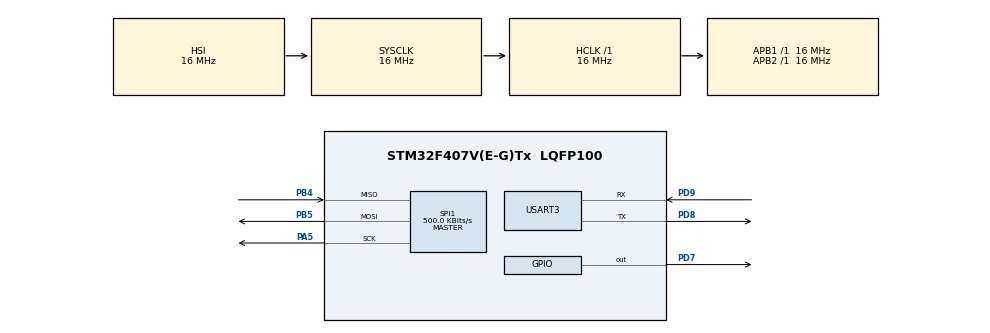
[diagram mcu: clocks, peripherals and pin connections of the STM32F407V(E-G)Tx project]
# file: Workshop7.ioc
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Mcu.Family=STM32F4
Mcu.Name=STM32F407V(E-G)Tx
Mcu.Package=LQFP100
NVIC.PriorityGroup=NVIC_PRIORITYGROUP_4
PA5.Mode=Full_Duplex_Master
PA5.Signal=SPI1_SCK
PB4.Mode=Full_Duplex_Master
PB4.Signal=SPI1_MISO
PB5.Mode=Full_Duplex_Master
PB5.Signal=SPI1_MOSI
PD7.Signal=GPIO_Output
PD8.Mode=Asynchronous
PD8.Signal=USART3_TX
PD9.Mode=Asynchronous
PD9.Signal=USART3_RX
ProjectManager.HeapSize=0x200
ProjectManager.StackSize=0x400
ProjectManager.TargetToolchain=STM32CubeIDE
RCC.AHBFreq_Value=16000000
RCC.APB1Freq_Value=16000000
RCC.APB2Freq_Value=16000000
RCC.CortexFreq_Value=16000000
RCC.HSE_VALUE=25000000
RCC.HSI_VALUE=16000000
RCC.LSE_VALUE=32768
RCC.SYSCLKFreq_VALUE=16000000
RCC.VCOOutputFreq_Value=192000000
SPI1.BaudRatePrescaler=SPI_BAUDRATEPRESCALER_32
SPI1.CLKPolarity=SPI_POLARITY_LOW
SPI1.CalculateBaudRate=500.0 KBits/s
SPI1.Direction=SPI_DIRECTION_2LINES
SPI1.Mode=SPI_MODE_MASTER
SPI1.VirtualType=VM_MASTER
USART3.VirtualMode=VM_ASYNC
board=custom

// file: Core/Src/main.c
/* USER CODE BEGIN Header */
/**
  ******************************************************************************
  * @file           : main.c
  * @brief          : Main program body
  ******************************************************************************
  * @attention
  *
  * <h2><center>&copy; Copyright (c) 2021 STMicroelectronics.
  * All rights reserved.</center></h2>
  *
  * This software component is licensed by ST under BSD 3-Clause license,
  * the "License"; You may not use this file except in compliance with the
  * License. You may obtain a copy of the License at:
  *                        opensource.org/licenses/BSD-3-Clause
  *
  ******************************************************************************
  */
/* USER CODE END Header */
#include "main.h"

/* USER CODE BEGIN Includes */

#include <stdbool.h>
#include <string.h>
#define maxLines 20
#define lineMaxSize 100
#define waitTime 100

/* USER CODE END Includes */

SPI_HandleTypeDef hspi1;

UART_HandleTypeDef huart3;

void SystemClock_Config(void);
static void MX_GPIO_Init(void);
static void MX_SPI1_Init(void);
static void MX_USART3_UART_Init(void);

/* USER CODE BEGIN 0 */

const uint8_t readMemoryCode = 0x03;
const uint8_t getIdCode = 0x90;
const uint8_t writeEnableCode = 0x06;
const uint8_t writeDisableCode = 0x04;
const uint8_t eraseAllCode = 0x60;
const uint8_t enableWriteStatusCode = 0x50;
const uint8_t writeStatusCode = 0x01;
const uint8_t enableSOCode = 0x70;
const uint8_t disableSOCode = 0x80;
const uint8_t autoAddressIncrementCode = 0xAD;

const uint16_t chipEnablePin = GPIO_PIN_7;

void setTransaction(bool state)
{
	if (state == true)
	{
		if (HAL_GPIO_ReadPin(GPIOD, chipEnablePin) == GPIO_PIN_SET)
			HAL_GPIO_WritePin(GPIOD, chipEnablePin, GPIO_PIN_RESET);
	}
	else
	{
		if (HAL_GPIO_ReadPin(GPIOD, chipEnablePin) == GPIO_PIN_RESET)
			HAL_GPIO_WritePin(GPIOD, chipEnablePin, GPIO_PIN_SET);
	}
}

void setWriteMode(bool state)
{
	setTransaction(true);
	HAL_SPI_Transmit(&hspi1, state == true ? (uint8_t *)&writeEnableCode : (uint8_t *)&writeDisableCode, 1, waitTime);
	setTransaction(false);
}

void eraseAll()
{
	setTransaction(true);
	HAL_SPI_Transmit(&hspi1, (uint8_t *)&eraseAllCode, 1, waitTime);
	setTransaction(false);
}

void setWriteStatus()
{
	uint8_t status[] = {writeStatusCode, 0};

	setTransaction(true);
	HAL_SPI_Transmit(&hspi1, (uint8_t *)&enableWriteStatusCode, 1, waitTime);
	setTransaction(false);
	setTransaction(true);
	HAL_SPI_Transmit(&hspi1, status, 2, waitTime);
	setTransaction(false);
}

void setHEOW(bool state)
{
	setTransaction(true);
	HAL_SPI_Transmit(&hspi1, state == true ? (uint8_t *)&enableSOCode : (uint8_t *)&disableSOCode, 1, waitTime);
	setTransaction(false);
}

void waitForEndOfWriting()
{
	setTransaction(true);

	while (HAL_GPIO_ReadPin(GPIOB, GPIO_PIN_4) == GPIO_PIN_RESET);

	setTransaction(false);
}

void readLineSPI(uint32_t memory, uint8_t *save)
{
	uint8_t transmit[] = {readMemoryCode, memory >> 16, memory >> 8, memory};

	setTransaction(true);
	HAL_SPI_Transmit(&hspi1, transmit, sizeof(transmit), waitTime);
	HAL_SPI_Receive(&hspi1, save, lineMaxSize, waitTime);
	setTransaction(false);
}

void writeLineSPI(uint32_t memory, uint8_t *line, uint8_t lineLength)
{
	setWriteStatus();
	setWriteMode(true);
	setHEOW(true);

	uint8_t startWritingPoint[] = {autoAddressIncrementCode, memory >> 16, memory >> 8, memory, line[0], line[1]};
	setTransaction(true);
	HAL_SPI_Transmit(&hspi1, startWritingPoint, sizeof(startWritingPoint), waitTime);
	setTransaction(false);
	waitForEndOfWriting();

	uint8_t twoBytesToPass[] = {autoAddressIncrementCode, line[0], line[1]};
	for (int i = 2; i < lineLength; i += 2)
	{
		twoBytesToPass[1] = line[i];
		if (i + 1 < lineLength)
			twoBytesToPass[2] = line[i + 1];
		else
			twoBytesToPass[2] = 255;
		setTransaction(true);
		HAL_SPI_Transmit(&hspi1, twoBytesToPass, sizeof(twoBytesToPass), waitTime);
		setTransaction(false);

		waitForEndOfWriting();
	}

	setWriteMode(false);
	setHEOW(false);
}
/* USER CODE END 0 */

int main(void)
{

  /* MCU Configuration--------------------------------------------------------*/

  /* Reset of all peripherals, Initializes the Flash interface and the Systick. */
  HAL_Init();

  /* Configure the system clock */
  SystemClock_Config();

  /* Initialize all configured peripherals */
  MX_GPIO_Init();
  MX_SPI1_Init();
  MX_USART3_UART_Init();

  /* Infinite loop */
  /* USER CODE BEGIN WHILE */

  HAL_UART_Transmit(&huart3, (uint8_t *)"\r\n\n\n\nRESTART\r\n\n\n\n\n", 18, waitTime);

  setTransaction(false);

  // make first transmit to set clock to low, couldn't find better solution
  setWriteMode(false);
  HAL_Delay(100);

  uint32_t memory = 0;

  // read time capsule
  HAL_UART_Transmit(&huart3, (uint8_t *)"TIME CAPSULE:\r\n\n", 16, waitTime);

  char tmpLine[lineMaxSize] = { };
  for (int i = 0; i < maxLines; i++)
  {
	  readLineSPI(memory, (uint8_t *)tmpLine);

	  for (int j = 0; ;j++)
	  {
		  if (tmpLine[j] == 255)
		  {
			  tmpLine[j] = '\0';
			  break;
		  }
	  }

	  HAL_UART_Transmit(&huart3, (uint8_t *)&tmpLine, strlen(tmpLine), waitTime);

	  memory += 4096; // new 4KB block
  }

  HAL_Delay(1000);

  // erase time capsule
  HAL_UART_Transmit(&huart3, (uint8_t *)"\r\n\nERASING...\r\n\n\n", 17, waitTime);

  setWriteMode(true);
  eraseAll();
  setWriteMode(false);

  HAL_Delay(1000);

  // write time capsule
  HAL_UART_Transmit(&huart3, (uint8_t *)"NEW CAPSULE:\r\n\n", 15, waitTime);

  char timeCapsule[maxLines][lineMaxSize] = { };

  strcat(timeCapsule[0], "From: Yaroslav Fur, yarosav.fur.w3@gmail.com\r\n");
  strcat(timeCapsule[1], "Mentor: Vitalii Kostiuk, vitalii.kostiuk@globallogic.com\r\n");
  strcat(timeCapsule[2], "Date: 25.11.2021\r\n");
  strcat(timeCapsule[3], "TIME CAPSULE\r\n");
  strcat(timeCapsule[4], "The following SCP object is a Beta-Gimmel-White level memetic hazard\r\n");
  strcat(timeCapsule[5], "that cannot be countered by current Foundation technology. Unauthorized\r\n");
  strcat(timeCapsule[6], "personnel viewing this file will be terminated. Authorized personnel\r\n");
  strcat(timeCapsule[7], "who do not wish to view this file should shut down their systems at this\r\n");
  strcat(timeCapsule[8], "time and submit to a superior for amnestic administration\r\n");
  strcat(timeCapsule[9], "LEVEL 5 AUTHORIZATION REQUIRED\r\n");
  strcat(timeCapsule[10], "REQUEST DENIED\r\n\n");
  strcat(timeCapsule[11], "Secure, Contain, Protect\r\n");

  memory = 0;
  for (int i = 0; i < maxLines; i++)
  {
	  writeLineSPI(memory, (uint8_t *)timeCapsule[i], strlen(timeCapsule[i]));
	  HAL_UART_Transmit(&huart3, (uint8_t *)&timeCapsule[i],
			  strlen(timeCapsule[i]), waitTime);
	  memory += 4096;
  }

  // here's new time capsule:
  // show time capsule by uart

  while (1)
  {
    /* USER CODE END WHILE */

  }
}

void SystemClock_Config(void)
{
  RCC_OscInitTypeDef RCC_OscInitStruct = {0};
  RCC_ClkInitTypeDef RCC_ClkInitStruct = {0};

  /** Configure the main internal regulator output voltage
  */
  __HAL_RCC_PWR_CLK_ENABLE();
  __HAL_PWR_VOLTAGESCALING_CONFIG(PWR_REGULATOR_VOLTAGE_SCALE1);
  /** Initializes the RCC Oscillators according to the specified parameters
  * in the RCC_OscInitTypeDef structure.
  */
  RCC_OscInitStruct.OscillatorType = RCC_OSCILLATORTYPE_HSI;
  RCC_OscInitStruct.HSIState = RCC_HSI_ON;
  RCC_OscInitStruct.HSICalibrationValue = RCC_HSICALIBRATION_DEFAULT;
  RCC_OscInitStruct.PLL.PLLState = RCC_PLL_NONE;
  if (HAL_RCC_OscConfig(&RCC_OscInitStruct) != HAL_OK)
  {
    Error_Handler();
  }
  /** Initializes the CPU, AHB and APB buses clocks
  */
  RCC_ClkInitStruct.ClockType = RCC_CLOCKTYPE_HCLK|RCC_CLOCKTYPE_SYSCLK
                              |RCC_CLOCKTYPE_PCLK1|RCC_CLOCKTYPE_PCLK2;
  RCC_ClkInitStruct.SYSCLKSource = RCC_SYSCLKSOURCE_HSI;
  RCC_ClkInitStruct.AHBCLKDivider = RCC_SYSCLK_DIV1;
  RCC_ClkInitStruct.APB1CLKDivider = RCC_HCLK_DIV1;
  RCC_ClkInitStruct.APB2CLKDivider = RCC_HCLK_DIV1;

  if (HAL_RCC_ClockConfig(&RCC_ClkInitStruct, FLASH_LATENCY_0) != HAL_OK)
  {
    Error_Handler();
  }
}

static void MX_SPI1_Init(void)
{

  /* SPI1 parameter configuration*/
  hspi1.Instance = SPI1;
  hspi1.Init.Mode = SPI_MODE_MASTER;
  hspi1.Init.Direction = SPI_DIRECTION_2LINES;
  hspi1.Init.DataSize = SPI_DATASIZE_8BIT;
  hspi1.Init.CLKPolarity = SPI_POLARITY_LOW;
  hspi1.Init.CLKPhase = SPI_PHASE_1EDGE;
  hspi1.Init.NSS = SPI_NSS_SOFT;
  hspi1.Init.BaudRatePrescaler = SPI_BAUDRATEPRESCALER_32;
  hspi1.Init.FirstBit = SPI_FIRSTBIT_MSB;
  hspi1.Init.TIMode = SPI_TIMODE_DISABLE;
  hspi1.Init.CRCCalculation = SPI_CRCCALCULATION_DISABLE;
  hspi1.Init.CRCPolynomial = 10;
  if (HAL_SPI_Init(&hspi1) != HAL_OK)
  {
    Error_Handler();
  }

}

static void MX_USART3_UART_Init(void)
{

  huart3.Instance = USART3;
  huart3.Init.BaudRate = 115200;
  huart3.Init.WordLength = UART_WORDLENGTH_8B;
  huart3.Init.StopBits = UART_STOPBITS_1;
  huart3.Init.Parity = UART_PARITY_NONE;
  huart3.Init.Mode = UART_MODE_TX_RX;
  huart3.Init.HwFlowCtl = UART_HWCONTROL_NONE;
  huart3.Init.OverSampling = UART_OVERSAMPLING_16;
  if (HAL_UART_Init(&huart3) != HAL_OK)
  {
    Error_Handler();
  }

}

static void MX_GPIO_Init(void)
{
  GPIO_InitTypeDef GPIO_InitStruct = {0};

  /* GPIO Ports Clock Enable */
  __HAL_RCC_GPIOA_CLK_ENABLE();
  __HAL_RCC_GPIOD_CLK_ENABLE();
  __HAL_RCC_GPIOB_CLK_ENABLE();

  /*Configure GPIO pin Output Level */
  HAL_GPIO_WritePin(GPIOD, GPIO_PIN_7, GPIO_PIN_RESET);

  /*Configure GPIO pin : PD7 */
  GPIO_InitStruct.Pin = GPIO_PIN_7;
  GPIO_InitStruct.Mode = GPIO_MODE_OUTPUT_PP;
  GPIO_InitStruct.Pull = GPIO_NOPULL;
  GPIO_InitStruct.Speed = GPIO_SPEED_FREQ_LOW;
  HAL_GPIO_Init(GPIOD, &GPIO_InitStruct);

}

void Error_Handler(void)
{
  __disable_irq();
  while (1)
  {
  }
}

/************************ (C) COPYRIGHT STMicroelectronics *****END OF FILE****/
